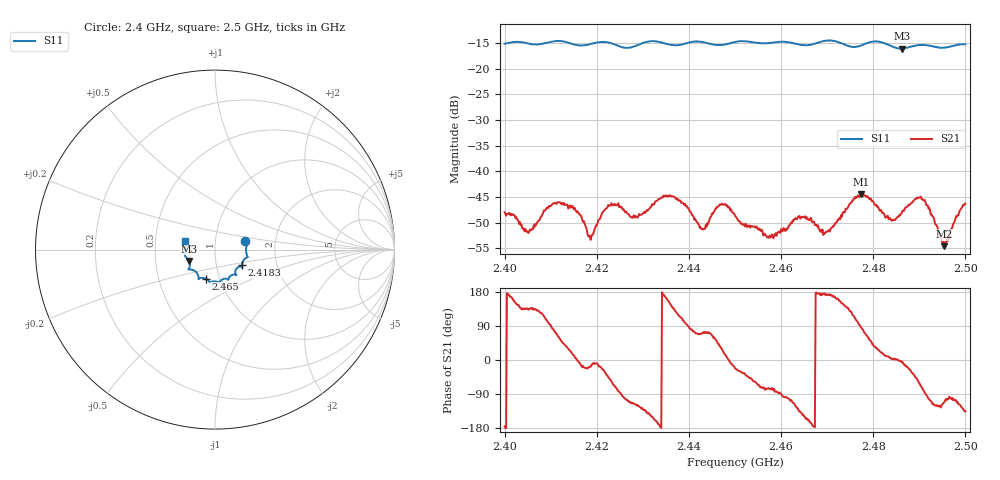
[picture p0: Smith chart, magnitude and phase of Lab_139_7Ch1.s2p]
# Hz S RI R 50
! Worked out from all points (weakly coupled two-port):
!   601 points, 2.4 GHz to 2.5 GHz, reference 50 ohm
!   highest |S21| = -44.52 dB at 2.4773 GHz (marker M1); lowest = -54.6 dB at 2.4953 GHz (marker M2)
!   lowest |S11| = -16.1 dB at 2.4862 GHz (marker M3), VSWR 1.37, Z = 37.2 - j4.8 ohm
!   |S11| at or under -10 dB: start of sweep to end of sweep
!   S12 and S22 are empty: the file has one direction only
!   S11 on the Smith chart (normalised r, x): 2.4 GHz: 1.40, +0.13; 2.4183 GHz: 1.33, -0.24; 2.465 GHz: 0.86, -0.29; 2.5 GHz: 0.71, +0.07
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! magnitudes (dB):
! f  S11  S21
! 2.4 GHz  -15.1  -48.0
! 2.4048 GHz  -15.0  -51.7
! 2.4112 GHz  -14.6  -46.2
! 2.4167 GHz  -15.5  -48.8
! 2.4183 GHz  -15.2  -52.8
! 2.4228 GHz  -14.9  -46.7
! 2.4283 GHz  -15.6  -48.7
! 2.4333 GHz  -14.7  -45.5
! 2.4372 GHz  -15.4  -45.4
! 2.4428 GHz  -14.8  -51.3
! 2.4468 GHz  -15.4  -46.6
! 2.45 GHz  -14.8  -48.6
! 2.4573 GHz  -15.0  -53.0
! 2.465 GHz  -15.4  -49.0
! 2.4667 GHz  -15.3  -49.8
! 2.4697 GHz  -14.5  -51.8
! 2.4773 GHz  -15.5  -44.5
! 2.4833 GHz  -15.3  -49.4
! 2.4862 GHz  -16.1  -48.1
! 2.4907 GHz  -15.3  -45.4
! 2.4953 GHz  -15.9  -54.6
! 2.5 GHz  -15.2  -46.3
